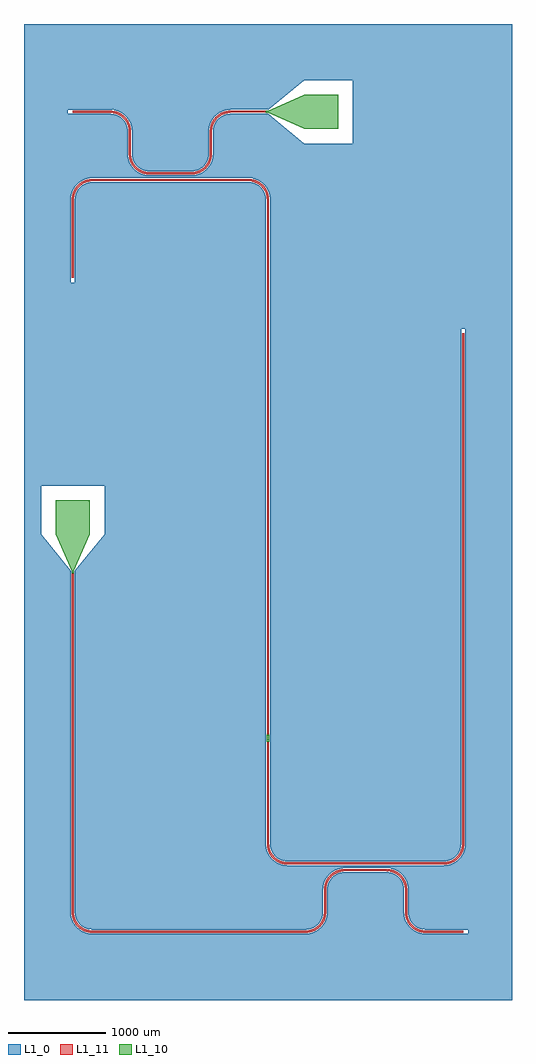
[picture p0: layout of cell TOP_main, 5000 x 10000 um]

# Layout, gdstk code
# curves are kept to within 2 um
import gdstk
lib = gdstk.Library(unit=1e-6, precision=1e-09)
def R(c, l, rs):  # rectangles x0, y0, x1, y1
    for r in rs: c.add(gdstk.rectangle(r[:2], r[2:], *l))
def P(c, l, *ps):  # polygons
    for p in ps: c.add(gdstk.Polygon(p, *l))
L1_0 = (1, 0)
L1_10 = (1, 10)
L1_11 = (1, 11)

ground_main_1 = lib.new_cell('ground_main_1')
R(ground_main_1, L1_0, [(-1500,-7180.217,-1022,-7056.885), (-1500,-7056.885,-1022,-6938.49)])
P(ground_main_1, L1_0, [(-1500,-8400),(-1500,-7660.606),(-953.252,-7660.606),(-919.379,-7687.17),(-882.036,-7706.286),(-841.764,-7718.036),(-800,-7722),(1389.201,-7721.96),(1430.882,-7717.207),(1470.925,-7704.697),(1507.9,-7684.878),(1538.252,-7660.606),(2461.748,-7660.606),(2488.624,-7682.519),(2521.39,-7701.299),(2556.866,-7714.253),(2594.024,-7721.007),(3050,-7722),(3050,-7678),(2607.445,-7677.84),(2573.814,-7673.17),(2538.255,-7660.606),(3500,-7660.606),(3500,-8400)],
  [(-800,-7678),(-841.186,-7673.17),(-876.745,-7660.606),(1461.745,-7660.606),(1426.186,-7673.17),(1385,-7678)],
  [(-1500,-7660.606),(-1500,-7562.178),(-1013.115,-7562.178),(-989.396,-7615.816),(-953.252,-7660.606)],
  [(-876.745,-7660.606),(-905.845,-7643.111),(-931.093,-7620.41),(-951.572,-7593.327),(-966.78,-7562.178),(1551.78,-7562.178),(1536.572,-7593.327),(1516.093,-7620.41),(1490.845,-7643.111),(1461.745,-7660.606)],
  [(1538.252,-7660.606),(1574.396,-7615.816),(1598.115,-7562.178),(2401.885,-7562.178),(2425.604,-7615.816),(2461.748,-7660.606)],
  [(2538.255,-7660.606),(2509.155,-7643.111),(2483.907,-7620.41),(2463.428,-7593.327),(2448.22,-7562.178),(3500,-7562.178),(3500,-7660.606)],
  [(-1500,-7562.178),(-1500,-7180.217),(-1022,-7180.217),(-1021.96,-7504.201),(-1013.115,-7562.178)],
  [(-966.78,-7562.178),(-974.762,-7533.799),(-977.96,-7503.778),(-978,-7180.217),(1581.966,-7180.217),(1569.685,-7215.931),(1563.636,-7253.21),(1562.84,-7507.555),(1559.762,-7533.799),(1551.78,-7562.178)],
  [(1598.115,-7562.178),(1606.841,-7508.401),(1607.641,-7254.905),(1614.802,-7217.878),(1631.306,-7180.217),(2368.694,-7180.217),(2375.606,-7193.255),(2387.256,-7225.148),(2392.639,-7258.672),(2393.159,-7508.401),(2401.885,-7562.178)],
  [(2448.22,-7562.178),(2440.238,-7533.799),(2437.16,-7507.555),(2436.364,-7253.21),(2430.315,-7215.931),(2418.034,-7180.217),(3500,-7180.217),(3500,-7562.178)],
  [(-978,-7180.217),(-978,-7056.885),(1722.822,-7056.885),(1680.118,-7074.337),(1638.757,-7102.976),(1607.394,-7136.808),(1581.966,-7180.217)],
  [(2418.034,-7180.217),(2392.606,-7136.808),(2361.243,-7102.976),(2319.882,-7074.337),(2277.178,-7056.885),(3500,-7056.885),(3500,-7180.217)],
  [(1631.306,-7180.217),(1659.135,-7144.135),(1694.912,-7116.481),(1736.502,-7098.734),(1785,-7092),(2241.352,-7093.961),(2277.848,-7103.464),(2314.676,-7122.525),(2346.093,-7149.59),(2368.694,-7180.217)],
  [(-978,-7056.885),(-978,-6938.49),(1026.506,-6938.49),(1060.182,-6972.438),(1102.598,-6999.491),(1150.015,-7016.3),(1200,-7022),(2808.401,-7021.841),(2854.069,-7015.315),(2901.16,-6997.612),(2939.818,-6972.438),(2973.494,-6938.49),(3500,-6938.49),(3500,-7056.885),(2277.178,-7056.885),(2244.324,-7049.945),(2215,-7048),(1780.799,-7048.04),(1722.822,-7056.885)],
  [(1200,-6978),(1169.918,-6975.44),(1140.701,-6967.832),(1113.19,-6955.397),(1088.177,-6938.49),(2911.823,-6938.49),(2886.81,-6955.397),(2862.848,-6966.536),(2833.799,-6974.762),(2803.778,-6977.96)],
  [(-1500,-6938.49),(-1500,-192.445),(-1021.865,-192.445),(-1022,-1050),(-978,-1050),(-977.84,-192.445),(977.84,-192.445),(978,-5669),(974.5,-5669),(974.5,-5764),(978,-5764),(978,-6800),(981.212,-6837.63),(990.757,-6874.171),(1006.357,-6908.566),(1026.506,-6938.49),(-978,-6938.49),(-978,-4000),(-675,-3630),(-675,-3130),(-1325,-3130),(-1325,-3630),(-1022,-4000),(-1022,-6938.49)],
  [(1088.177,-6938.49),(1059.167,-6908.858),(1039.394,-6876.745),(1026.83,-6841.186),(1022,-6800),(1022,-5764),(1025.5,-5764),(1025.5,-5669),(1022,-5669),(1021.865,-192.445),(3500,-192.445),(3500,-6938.49),(2973.494,-6938.49),(2993.643,-6908.566),(3009.243,-6874.171),(3018.788,-6837.63),(3022,-6800),(3022,-1520),(2978,-1520),(2978,-6800),(2975.44,-6830.082),(2967.832,-6859.299),(2945.326,-6902.783),(2911.823,-6938.49)],
  [(-1500,-192.445),(-1500,-35.774),(-949.378,-35.774),(-977.606,-66.808),(-1001.299,-106.39),(-1016.3,-150.015),(-1021.865,-192.445)],
  [(-977.84,-192.445),(-969.053,-144.277),(-945.326,-97.217),(-911.823,-61.51),(-868.633,-35.774),(868.633,-35.774),(911.823,-61.51),(945.326,-97.217),(969.053,-144.277),(977.84,-192.445)],
  [(1021.865,-192.445),(1016.3,-150.015),(1001.299,-106.39),(977.606,-66.808),(949.378,-35.774),(3500,-35.774),(3500,-192.445)],
  [(-1500,-35.774),(-1500,92.361),(-348.147,92.361),(-319.882,74.337),(-285.198,59.391),(-252.63,51.212),(-215,48),(231.79,48.636),(264.985,53.7),(293.118,62.198),(319.882,74.337),(348.147,92.361),(3500,92.361),(3500,-35.774),(949.378,-35.774),(915.816,-10.604),(878.118,7.802),(837.63,18.788),(800,22),(-804.201,21.96),(-845.882,17.207),(-882.036,6.286),(-915.816,-10.604),(-949.378,-35.774)],
  [(-215,92),(-218.778,92.04),(-222.555,92.16),(-226.328,92.361),(226.328,92.361),(222.555,92.16),(218.778,92.04),(215,92)],
  [(-868.633,-35.774),(-833.799,-25.238),(-800,-22),(800,-22),(833.799,-25.238),(868.633,-35.774)],
  [(-1500,92.361),(-1500,220.015),(-431.3,220.015),(-419.697,184.075),(-399.878,147.1),(-376.37,117.541),(-348.147,92.361)],
  [(-226.328,92.361),(-277.848,103.464),(-301.81,114.603),(-326.823,131.51),(-362.475,170.324),(-375.606,193.255),(-385.828,220.015),(385.828,220.015),(366.572,176.673),(335.41,138.907),(295.136,111.059),(252.501,95.995),(226.328,92.361)],
  [(348.147,92.361),(376.37,117.541),(399.878,147.1),(419.697,184.075),(431.3,220.015),(3500,220.015),(3500,92.361)],
  [(-1500,220.015),(-1500,623.165),(-486.492,623.165),(-461.481,590.088),(-444.802,552.122),(-437.16,507.555),(-436.96,265.799),(-431.3,220.015)],
  [(-385.828,220.015),(-392.96,266.222),(-394.43,525.154),(-407.198,578.118),(-430.303,623.165),(430.303,623.165),(407.198,578.118),(394.43,525.154),(392.96,266.222),(385.828,220.015)],
  [(431.3,220.015),(436.96,265.799),(438.442,522.609),(443.734,548.498),(454.394,576.745),(467.525,599.676),(486.492,623.165),(1066.96,623.165),(1370,375),(1870,375),(1870,623.165),(3500,623.165),(3500,220.015)],
  [(-1500,623.165),(-1500,1600),(3500,1600),(3500,623.165),(1870,623.165),(1870,1025),(1370,1025),(1000,722),(615,722),(577.37,718.788),(536.882,707.802),(495.621,687.17),(459.515,658.456),(430.303,623.165),(-430.303,623.165),(-465.622,664.226),(-510.118,695.663),(-560.931,715.315),(-615,722),(-1050,722),(-1050,678),(-596.143,676.998),(-566.502,671.266),(-538.255,660.606),(-512.217,645.326),(-486.492,623.165)],
  [(486.492,623.165),(515.324,647.475),(545.141,663.718),(581.201,674.762),(615,678),(1000,678),(1066.96,623.165)])

top_main_1_one_hole = lib.new_cell('TOP_main_1_one_hole')

top_main_1_cheese_diff = lib.new_cell('TOP_main_1_Cheese_diff')

top_main_1_cheese_100 = lib.new_cell('TOP_main_1_Cheese_100')

top_main_1 = lib.new_cell('TOP_main_1')
P(top_main_1, L1_10, [(986.5,-5752),(986.5,-5692),(991.5,-5692),(991.5,-5747),(1008.5,-5747),(1008.5,-5692),(1013.5,-5692),(1013.5,-5752),(1013.5,-5752)],
  [(997.5,-5741),(997.5,-5686),(986.5,-5686),(986.5,-5681),(986.5,-5681),(1013.5,-5681),(1013.5,-5686),(1002.5,-5686),(1002.5,-5741)],
  [(1370,525),(1000,690),(1000,690),(975,690),(975,710),(1000,710),(1370,875),(1720,875),(1720,525)],
  [(-1010,-4025),(-1010,-4000),(-1175,-3630),(-1175,-3280),(-825,-3280),(-825,-3630),(-990,-4000),(-990,-4000),(-990,-4025)])
R(top_main_1, L1_11, [(990,-5753,1010,-5752), (990,-5681,1010,-5680)])
P(top_main_1, L1_11, [(-1010,-1000),(-1009.353,-183.524),(-999.722,-135.106),(-976.866,-86.781),(-956.977,-60.507),(-928.989,-60.507),(-953.256,-87.695),(-971.184,-117.562),(-983.358,-150.201),(-989.368,-184.513),(-990,-1000)],
  [(990,-5680),(989.96,-196.124),(985.236,-157.721),(972.83,-121.071),(953.256,-87.695),(928.989,-60.507),(956.977,-60.507),(981.174,-93.812),(1002.116,-142.998),(1009.96,-195.877),(1010,-5680)],
  [(-956.977,-60.507),(-923.435,-30.106),(-887.919,-9.29),(-845.005,5.121),(-800,10),(808.245,9.838),(849.024,4.198),(887.919,-9.29),(923.435,-30.106),(956.977,-60.507),(928.989,-60.507),(896.117,-36.105),(857.237,-18.826),(827.04,-11.934),(800,-10),(-803.876,-10.04),(-838.492,-13.94),(-871.814,-24.094),(-902.722,-40.162),(-928.989,-60.507)],
  [(1200,-7010),(1154.995,-7005.121),(1112.081,-6990.71),(1076.565,-6969.894),(1043.023,-6939.493),(1071.011,-6939.493),(1103.883,-6963.895),(1142.763,-6981.174),(1172.96,-6988.066),(1200,-6990),(2803.876,-6989.96),(2838.492,-6986.06),(2871.814,-6975.906),(2902.722,-6959.838),(2928.989,-6939.493),(2956.977,-6939.493),(2923.435,-6969.894),(2887.919,-6990.71),(2849.024,-7004.198),(2808.245,-7009.838)],
  [(2928.989,-6939.493),(2953.256,-6912.305),(2972.83,-6878.929),(2985.236,-6842.279),(2989.96,-6803.876),(2990,-1570),(3010,-1570),(3009.96,-6804.123),(3002.116,-6857.002),(2981.174,-6906.188),(2956.977,-6939.493)],
  [(1043.023,-6939.493),(1023.134,-6913.219),(1005.985,-6880.364),(994.879,-6845.005),(990.162,-6808.245),(990,-5753),(1010,-5753),(1010.356,-6811.621),(1016.642,-6849.799),(1028.816,-6882.438),(1046.744,-6912.305),(1071.011,-6939.493)],
  [(-415.278,206.877),(-421.73,233.083),(-424.838,261.755),(-425,500),(-427.525,530.87),(-435.031,560.921),(-449.178,592.753),(-468.899,621.469),(-490.576,643.592),(-512.278,659.838),(-536.071,672.83),(-561.471,682.304),(-591.802,688.579),(-1000,690),(-1000,710),(-594.416,708.989),(-565.976,704.198),(-534.636,694.015),(-505.275,679.054),(-478.616,659.685),(-458.023,639.493),(-440.391,616.67),(-426.053,591.646),(-415.278,564.894)],
  [(-215,60),(-243.773,61.98),(-275.96,69.043),(-302.919,79.29),(-331.67,95.391),(-357.548,115.792),(-379.917,139.99),(-396.174,163.812),(-410.555,193.461),(-415.278,206.877),(-415.278,564.894),(-408.27,536.917),(-405.162,508.245),(-404.96,266.124),(-401.807,235.312),(-392.334,201.789),(-376.9,170.56),(-356.024,142.673),(-330.408,119.066),(-307.753,104.178),(-283.211,92.666),(-257.279,84.764),(-230.487,80.632),(215,80),(215,60)],
  [(215,60),(215,80),(245.87,82.525),(275.921,90.031),(307.753,104.178),(333.463,121.452),(365.934,154.592),(378.895,173.883),(390.906,198.186),(400.236,227.721),(404.644,258.379),(405.162,508.245),(408.27,536.917),(415.957,566.917),(415.957,209.04),(410.555,193.461),(396.174,163.812),(379.917,139.99),(357.548,115.792),(331.67,95.391),(302.919,79.29),(275.96,69.043),(243.773,61.98)],
  [(415.957,209.04),(415.957,566.917),(426.053,591.646),(440.391,616.67),(458.023,639.493),(475.507,656.977),(501.781,676.866),(530.843,692.399),(561.977,703.196),(594.416,708.989),(975,710),(975,690),(615,690),(587.96,688.066),(561.471,682.304),(536.071,672.83),(509.039,657.71),(487.673,641.024),(466.452,618.463),(449.178,592.753),(435.031,560.921),(427.525,530.87),(425,500),(424.838,261.755),(421.73,233.083)],
  [(-800,-7710),(-836.917,-7706.73),(-876.539,-7695.555),(-913.219,-7676.866),(-942.548,-7654.208),(-969.894,-7623.435),(-990.71,-7587.919),(-1004.198,-7549.024),(-1009.636,-7512.363),(-1010,-4025),(-990,-4025),(-989.644,-7511.621),(-984.335,-7546.049),(-974.404,-7575.387),(-957.71,-7605.961),(-938.398,-7630.177),(-909.156,-7655.515),(-875.387,-7674.404),(-838.492,-7686.06),(-800,-7690)],
  [(-800,-7710),(-800,-7690),(1385,-7690),(1423.492,-7686.06),(1470.913,-7669.467),(1509.424,-7643.592),(1542.71,-7605.961),(1564.969,-7560.921),(1571.807,-7534.688),(1574.842,-7507.75),(1575.364,-7257.637),(1585.278,-7205.106),(1585.278,-7563.123),(1561.866,-7613.219),(1527.548,-7654.208),(1505.075,-7672.284),(1480.338,-7687.111),(1430.005,-7705.121),(1385,-7710)],
  [(1585.278,-7563.123),(1585.278,-7205.106),(1596.053,-7178.354),(1612.716,-7149.925),(1630.792,-7127.452),(1654.99,-7105.083),(1678.812,-7088.826),(1708.461,-7074.445),(1735.976,-7065.802),(1768.524,-7060.647),(2215,-7060),(2215,-7080),(1765.654,-7080.988),(1738.951,-7085.665),(1713.186,-7094.094),(1688.883,-7106.105),(1666.537,-7121.452),(1641.408,-7145.576),(1621.105,-7173.883),(1607.666,-7201.789),(1598.193,-7235.312),(1595.04,-7266.124),(1594.838,-7508.245),(1591.73,-7536.917)],
  [(2415.957,-7566.917),(2408.27,-7536.917),(2405.162,-7508.245),(2404.644,-7258.379),(2400.236,-7227.721),(2390.906,-7198.186),(2378.895,-7173.883),(2365.934,-7154.592),(2333.463,-7121.452),(2307.753,-7104.178),(2275.921,-7090.031),(2245.87,-7082.525),(2215,-7080),(2215,-7060),(2243.773,-7061.98),(2275.96,-7069.043),(2302.919,-7079.29),(2331.67,-7095.391),(2357.548,-7115.792),(2379.917,-7139.99),(2396.174,-7163.812),(2410.555,-7193.461),(2415.957,-7209.04)],
  [(2615,-7710),(2586.227,-7708.02),(2554.04,-7700.957),(2527.081,-7690.71),(2498.33,-7674.609),(2472.452,-7654.208),(2450.083,-7630.01),(2433.826,-7606.188),(2419.445,-7576.539),(2415.957,-7566.917),(2415.957,-7209.04),(2421.73,-7233.083),(2424.838,-7261.755),(2425.04,-7503.876),(2428.193,-7534.688),(2437.666,-7568.211),(2451.105,-7596.117),(2468.899,-7621.469),(2493.531,-7646.101),(2518.883,-7663.895),(2543.186,-7675.906),(2568.951,-7684.335),(2599.513,-7689.368),(3000,-7690),(3000,-7710)])
top_main_1.add(gdstk.Reference(ground_main_1, (0,0)))
top_main_1.add(gdstk.Reference(top_main_1_one_hole, (0,0)))
top_main_1.add(gdstk.Reference(top_main_1_cheese_diff, (0,0)))
top_main_1.add(gdstk.Reference(top_main_1_cheese_100, (0,0)))

top_main_1_nocheese_99 = lib.new_cell('TOP_main_1_NoCheese_99')

top_main = lib.new_cell('TOP_main')
top_main.add(gdstk.Reference(top_main_1, (0,0)))
top_main.add(gdstk.Reference(top_main_1_nocheese_99, (0,0)))

lib.write_gds('TOP_main.gds')
